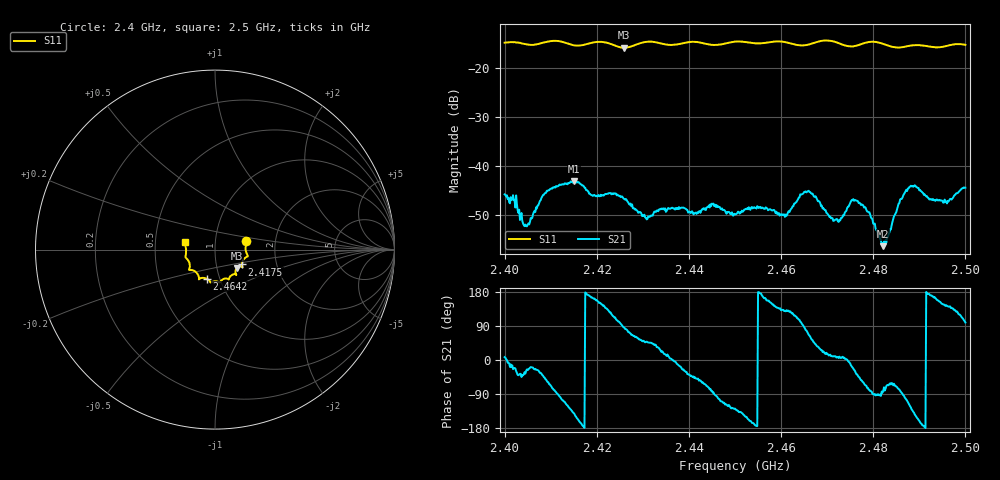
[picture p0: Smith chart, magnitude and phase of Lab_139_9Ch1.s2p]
# Hz S RI R 50
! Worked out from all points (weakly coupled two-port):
!   601 points, 2.4 GHz to 2.5 GHz, reference 50 ohm
!   highest |S21| = -43.20 dB at 2.415 GHz (marker M1); lowest = -56.5 dB at 2.4822 GHz (marker M2)
!   lowest |S11| = -16.0 dB at 2.4258 GHz (marker M3), VSWR 1.38, Z = 62.4 - j13.1 ohm
!   |S11| at or under -10 dB: start of sweep to end of sweep
!   S12 and S22 are empty: the file has one direction only
!   S11 on the Smith chart (normalised r, x): 2.4 GHz: 1.41, +0.14; 2.4175 GHz: 1.33, -0.23; 2.4642 GHz: 0.87, -0.29; 2.5 GHz: 0.71, +0.06
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2.4e9  0.1728 0.0476  0.00503 0.00068  0 0  0 0
2.402167e9  0.1772 0.0395  0.00413 -0.00158  0 0  0 0
2.404833e9  0.1712 0.0176  0.00217 -0.00101  0 0  0 0
2.408833e9  0.1797 -0.0283  0.00336 -0.00404  0 0  0 0
2.415e9  0.1598 -0.0543  -0.0053 -0.00445  0 0  0 0
2.416667e9  0.1519 -0.0731  -0.00627 -0.00131  0 0  0 0
2.4175e9  0.1507 -0.083  -0.00592 0.000193  0 0  0 0
2.425833e9  0.122 -0.1023  0.00031 0.00459  0 0  0 0
2.4305e9  0.1177 -0.1391  0.00203 0.00214  0 0  0 0
2.433333e9  0.1142 -0.1375  0.00287 0.00185  0 0  0 0
2.445167e9  0.055 -0.1612  0.000288 -0.00404  0 0  0 0
2.45e9  0.0278 -0.1818  -0.00196 -0.00249  0 0  0 0
2.460833e9  -0.0275 -0.1799  -0.00191 0.00231  0 0  0 0
2.464167e9  -0.047 -0.1617  -0.001 0.00499  0 0  0 0
2.466667e9  -0.0759 -0.1582  0.00305 0.00415  0 0  0 0
2.472e9  -0.0891 -0.1574  0.00282 0.000326  0 0  0 0
2.476667e9  -0.123 -0.1154  0.00324 -0.00287  0 0  0 0
2.482167e9  -0.1415 -0.1018  0.000219 -0.00149  0 0  0 0
2.483333e9  -0.1402 -0.0905  0.000785 -0.00182  0 0  0 0
2.488e9  -0.1601 -0.0481  -0.00324 -0.00517  0 0  0 0
2.4955e9  -0.1637 0.0159  -0.00366 0.0026  0 0  0 0
2.5e9  -0.1646 0.0439  -0.000928 0.00587  0 0  0 0
